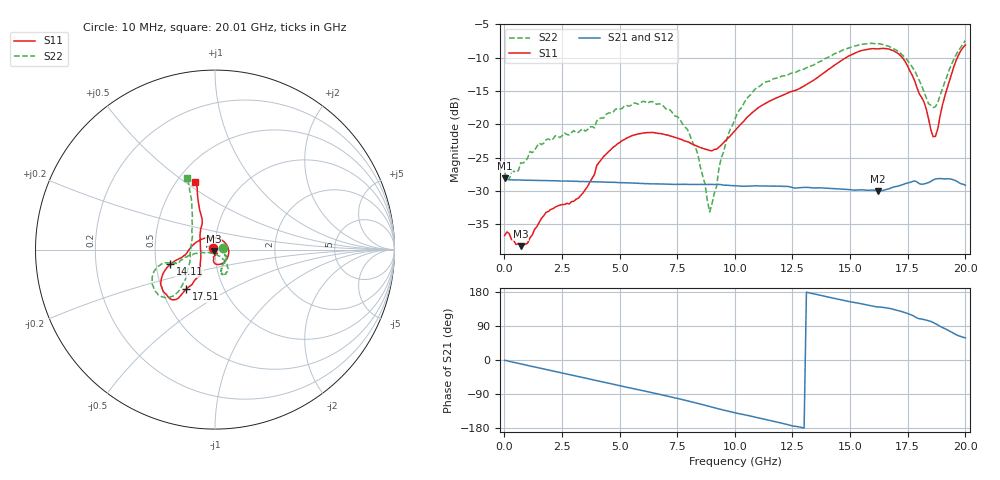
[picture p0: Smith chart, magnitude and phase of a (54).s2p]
! Hittite Microwave Corporation
! 2 Elizabeth Drive
! Chelmsford, MA 01824
! http://www.hittite.com
! Tel: 978-250-3343
! Fax: 978-250-3373
! Device:  HMC424LP3
! Description: 0.5 dB GaAs MMIC 6-Bit Digital Attenuator
! Frequency:  DC -  13.00 GHz
! Package:  LP3  - 3x3 mm Quad Flatpack No-Lead (QFN) Plastic Package: 16 pin
! Ports:  2 RF, 7 DC
!  Pad  1  = Ground
!  Pad  2  = RF IN  =  Port 1
!  Pad  3  = Ground
!  Pad  4  = V6
!  Pad  5  = V5
!  Pad  6  = V4
!  Pad  7  = V3
!  Pad  8  = V2
!  Pad  9  = V1
!  Pad 10  = Ground
!  Pad 11  = RF OUT  = Port 2
!  Pad 12  = Ground
!  Pad 15  = VEE
! Control:  -5 Volt control voltage
! State:  52
! Attenuation:  26.0 dB
! Voltages:  Vdd = -5.00 Volts  Idd =  -2.394 mA
!  V1  = 0.00 Volts  I1  =  30.0 uA
!  V2  = 0.00 Volts  I2  =  29.0 uA
!  V3  = -5.00 Volts  I3  =  -1.0 uA
!  V4  = 0.00 Volts  I4  =  29.0 uA
!  V5  = -5.00 Volts  I5  =  -1.0 uA
!  V6  = -5.00 Volts  I6  =  -1.0 uA
! Data:  The device was measured on evaluation board 105354-1.
!  Data was collected using a calibrated network analyzer.
!  The evaluation circuit board was modeled and simulated.  This was use
!  to removed the evaluation board circuit from the measured data.
!  The reference plane is the edge of the package pin.
! Misc:  Lot xxxx, Unit 1
!  Application 20120001, Data collected in Application 20090083
! Date Measured:  2009-09-15
! Date:  2012-05-14  MJV
! Note:
!  Hittite supplies this data as a sample of measured data at the package pin
!  for this product.  Your particular data for this product may vary.
!  Data was taken at 25 degrees C.
!  Hittite reserves the right to change this data at anytime.
# GHz S MA R 50
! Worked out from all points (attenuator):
!   201 points, 10 MHz to 20.01 GHz, reference 50 ohm
!   highest |S21| = -28.07 dB at 10 MHz (marker M1); lowest = -30.0 dB at 16.21 GHz (marker M2)
!   lowest |S11| = -38.3 dB at 710 MHz (marker M3), VSWR 1.02, Z = 49.2 - j0.881 ohm
!   |S11| at or under -10 dB: start of sweep to 14.82 GHz; 17.28 GHz to 19.66 GHz (2.38 GHz wide, 12.9 % of centre)
!   |S22| runs from -33.1 to -7.4 dB; largest |S21 - S12| = 0.00093
!   S11 on the Smith chart (normalised r, x): 10 MHz: 0.97, +0.01; 14.11 GHz: 0.60, -0.10; 17.51 GHz: 0.66, -0.31; 20.01 GHz: 0.61, +0.55
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0.01  0.01468 153.0  0.03951 -1.0  0.03862 -0.6  0.04426 8.6
0.21  0.01516 -172.8  0.03845 -3.6  0.03841 -3.4  0.03856 -7.8
0.71  0.01221 -132.8  0.03824 -10.2  0.03817 -10.3  0.05148 -21.2
1.81  0.0219 -59.2  0.03789 -25.0  0.0378 -25.2  0.07676 -32.5
3.41  0.03056 -86.9  0.03735 -46.5  0.03723 -46.5  0.09258 -54.2
4.91  0.0715 -94.7  0.03663 -66.5  0.03658 -66.5  0.1315 -73.5
6.71  0.08547 -49.5  0.03579 -90.4  0.03575 -90.3  0.143 -63.4
8.01  0.0735 8.9  0.03546 -108.7  0.03542 -108.8  0.08724 -48.0
8.41  0.0682 31.3  0.03544 -114.7  0.03541 -114.7  0.0586 -48.3
8.91  0.06373 65.3  0.03551 -122.5  0.03544 -122.5  0.02205 -101.8
9.41  0.0699 102.4  0.03535 -130.7  0.03528 -130.9  0.05602 -160.0
10.01  0.08969 137.7  0.03471 -139.3  0.03467 -139.3  0.1099 -168.9
11.21  0.1399 177.6  0.03454 -155.3  0.0344 -155.2  0.2023 -162.7
13.41  0.214 -165.3  0.03342 174.9  0.03337 174.7  0.2783 -164.7
14.11  0.2616 -161.9  0.03313 165.4  0.03309 165.3  0.3231 -163.9
16.21  0.3686 -137.1  0.03166 140.0  0.03154 140.0  0.405 -141.7
16.71  0.3667 -130.3  0.03295 136.2  0.03293 136.2  0.3838 -135.6
17.51  0.2718 -126.2  0.03642 122.5  0.03629 122.4  0.2995 -131.2
18.41  0.1103 -138.0  0.03662 103.5  0.03661 103.4  0.143 -164.2
18.71  0.08143 175.2  0.03895 96.0  0.03881 95.9  0.136 163.6
19.51  0.2713 109.7  0.0383 70.1  0.03825 70.0  0.3093 115.1
20.01  0.395 106.6  0.03498 58.3  0.03518 58.4  0.4265 111.5
